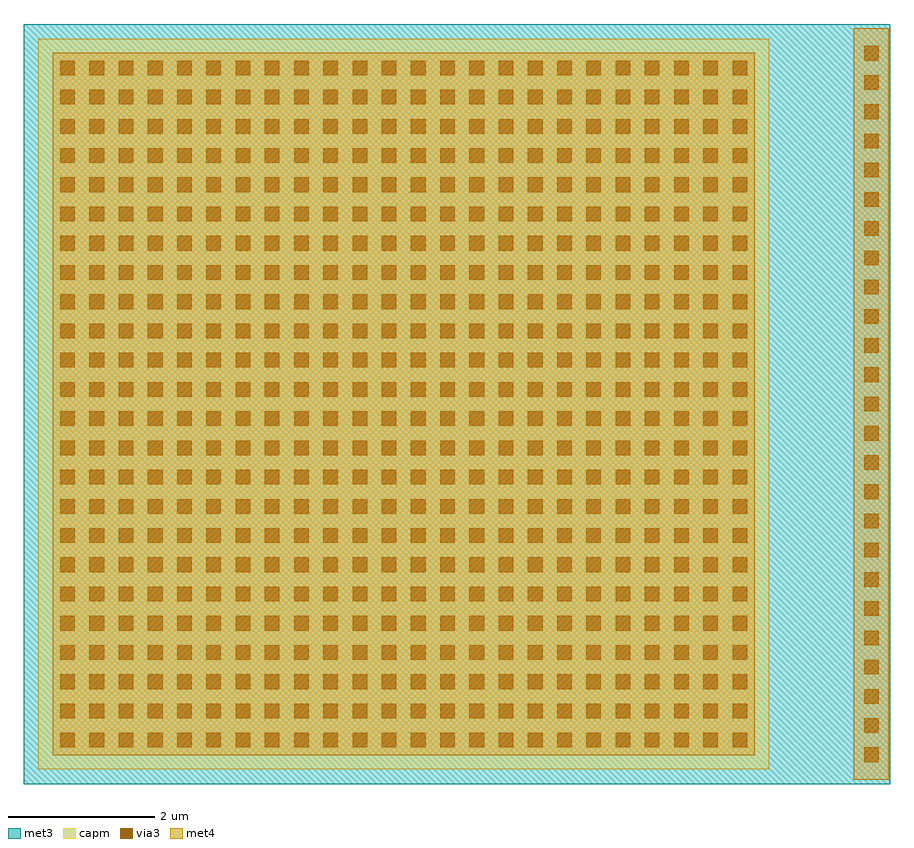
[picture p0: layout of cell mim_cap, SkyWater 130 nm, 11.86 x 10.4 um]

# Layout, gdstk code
import gdstk
lib = gdstk.Library(unit=1e-6, precision=5e-09)
def R(c, l, rs):  # rectangles x0, y0, x1, y1
    for r in rs: c.add(gdstk.rectangle(r[:2], r[2:], *l))
def A(c, l, x, y, w, h, nx, ny, dx, dy):  # array of equal rectangles
    R(c, l, [(x+i*dx, y+j*dy, x+i*dx+w, y+j*dy+h) for i in range(nx) for j in range(ny)])
met3 = (70, 20)
via3 = (70, 44)
met4 = (71, 20)
capm = (89, 44)

mim_cap = lib.new_cell('mim_cap')
R(mim_cap, met3, [(-0.2,-0.2,11.66,10.2)])
A(mim_cap, via3, 11.3, 0.1, 0.2, 0.2, 1, 25, 0, 0.4)
A(mim_cap, via3, 0.3, 0.3, 0.2, 0.2, 24, 24, 0.4, 0.4)
R(mim_cap, met4, [(11.16,-0.14,11.64,10.14), (0.195,0.195,9.805,9.805)])
R(mim_cap, capm, [(0,0,10,10)])

lib.write_gds('mim_cap.gds')
